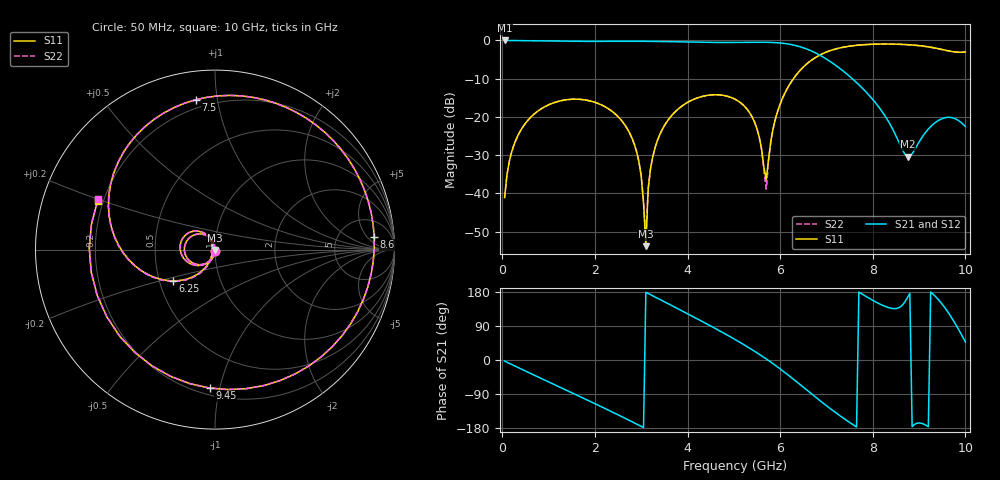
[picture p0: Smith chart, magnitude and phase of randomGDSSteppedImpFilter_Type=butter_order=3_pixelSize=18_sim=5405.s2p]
! freq	dB(S11)	phase(S11)	dB(S12)	phase(S12)
!  dB(S21)	phase(S21)	dB(S22)	phase(S22)
!S-par simulation data
#  GHz  S  DB  R 50
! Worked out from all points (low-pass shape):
!   200 points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, 50 MHz to 10 GHz, reference 50 ohm
!   highest |S21| = -0.01 dB at 50 MHz (marker M1); lowest = -30.4 dB at 8.75 GHz (marker M2)
!   |S21| within 3 dB of the highest: start of sweep to 6.72 GHz
!   lowest |S11| = -53.8 dB at 3.1 GHz (marker M3), VSWR 1.00, Z = 49.9 - j0.19 ohm
!   |S11| at or under -10 dB: start of sweep to 6.287 GHz
!   |S22| runs from -51.3 to -0.9 dB; largest |S21 - S12| = 0
!   S11 on the Smith chart (normalised r, x): 50 MHz: 1.00, -0.02; 6.25 GHz: 0.59, -0.22; 7.5 GHz: 0.15, +0.87; 8.6 GHz: 12, +8; 9.45 GHz: 0.24, -0.93; 10 GHz: 0.18, +0.19
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0.05  -41.10 -91.7  -0.01 -3.0  -0.01 -3.0  -41.10 -91.6
0.2  -29.27 -101.4  -0.03 -11.7  -0.03 -11.7  -29.27 -101.4
0.5  -21.67 -119.4  -0.07 -29.1  -0.07 -29.1  -21.67 -119.4
1.75  -15.49 168.6  -0.25 -100.8  -0.25 -100.8  -15.49 168.7
2.8  -25.54 107.2  -0.21 -162.8  -0.21 -162.8  -25.53 108.3
3  -35.49 96.5  -0.22 -175.1  -0.22 -175.1  -35.44 100.6
3.1  -53.80 -111.5  -0.23 178.7  -0.23 178.7  -51.28 -138.3
3.2  -33.61 -99.8  -0.24 172.5  -0.24 172.5  -33.58 -103.5
3.4  -24.66 -111.0  -0.27 160.0  -0.27 160.0  -24.65 -112.5
4.25  -14.88 -164.0  -0.48 106.0  -0.48 106.0  -14.88 -164.7
5.05  -15.53 144.1  -0.52 52.4  -0.52 52.4  -15.54 143.0
5.5  -23.09 117.7  -0.46 19.0  -0.46 19.0  -23.16 114.8
5.7  -36.48 -167.6  -0.48 2.7  -0.48 2.7  -38.89 -164.1
5.9  -20.40 -116.5  -0.58 -14.5  -0.58 -14.5  -20.46 -114.2
6.25  -10.65 -143.6  -1.10 -47.1  -1.10 -47.1  -10.66 -142.8
6.7  -4.96 172.5  -2.89 -91.6  -2.89 -91.6  -4.96 172.9
7.5  -1.49 97.3  -9.40 -164.7  -9.40 -164.7  -1.50 97.4
8.35  -0.94 26.1  -21.43 137.9  -21.43 137.9  -0.94 26.1
8.6  -1.01 4.6  -27.55 140.6  -27.55 140.6  -1.02 4.5
8.75  -1.10 -9.0  -30.40 164.9  -30.40 164.9  -1.11 -9.2
9.45  -2.25 -92.2  -20.71 154.7  -20.71 154.7  -2.26 -92.9
10  -3.00 157.6  -22.51 47.5  -22.51 47.5  -2.99 156.5
